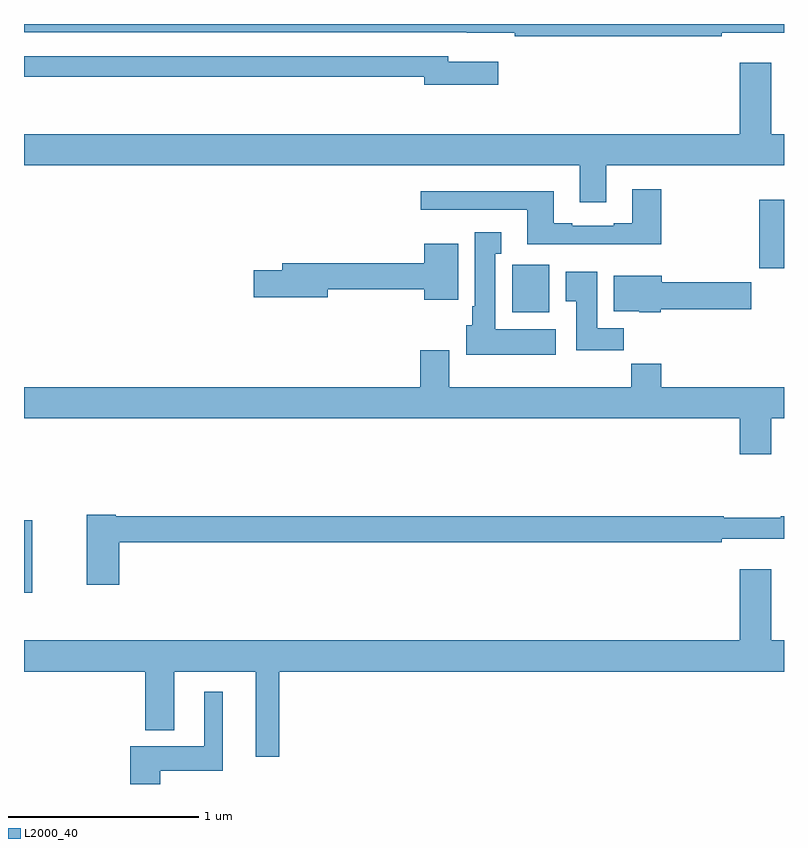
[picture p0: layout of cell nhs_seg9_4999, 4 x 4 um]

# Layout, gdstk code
import gdstk
lib = gdstk.Library(unit=1e-6, precision=1e-09)
def R(c, l, rs):  # rectangles x0, y0, x1, y1
    for r in rs: c.add(gdstk.rectangle(r[:2], r[2:], *l))
def P(c, l, *ps):  # polygons
    for p in ps: c.add(gdstk.Polygon(p, *l))
L2000_40 = (2000, 40)

nhs_seg9_4999 = lib.new_cell('nhs_seg9_4999')
R(nhs_seg9_4999, L2000_40, [(401,1191.507,401.044,1191.888), (403.569,1192.982,403.765,1193.232), (404.87,1193.214,405,1193.575)])
P(nhs_seg9_4999, L2000_40, [(404.672,1194.455),(405,1194.455),(405,1194.5),(401,1194.5),(401,1194.456),(403.33,1194.456),(403.33,1194.455),(403.582,1194.455),(403.582,1194.436),(404.672,1194.436)],
  [(403.495,1194.301),(403.234,1194.301),(403.234,1194.33),(401,1194.33),(401,1194.222),(403.106,1194.222),(403.106,1194.179),(403.495,1194.179)],
  [(404.065,1193.756),(405,1193.756),(405,1193.92),(404.932,1193.92),(404.932,1194.295),(404.768,1194.295),(404.768,1193.92),(401,1193.92),(401,1193.756),(403.925,1193.756),(403.925,1193.562),(404.065,1193.562)],
  [(404.354,1193.629),(404.201,1193.629),(404.201,1193.452),(404.105,1193.452),(404.105,1193.439),(403.885,1193.439),(403.885,1193.452),(403.789,1193.452),(403.789,1193.62),(403.089,1193.62),(403.089,1193.523),(403.649,1193.523),(403.649,1193.342),(404.354,1193.342)],
  [(403.798,1192.894),(403.48,1192.894),(403.48,1193.291),(403.513,1193.291),(403.513,1193.404),(403.373,1193.404),(403.373,1193.014),(403.358,1193.014),(403.358,1192.914),(403.328,1192.914),(403.328,1192.76),(403.798,1192.76)],
  [(403.285,1193.344),(403.106,1193.344),(403.106,1193.24),(402.359,1193.24),(402.359,1193.204),(402.21,1193.204),(402.21,1193.062),(402.598,1193.062),(402.598,1193.104),(403.106,1193.104),(403.106,1193.048),(403.285,1193.048)],
  [(404.156,1192.9),(404.017,1192.9),(404.017,1193.197),(403.85,1193.197),(403.85,1193.041),(403.907,1193.041),(403.907,1192.782),(404.156,1192.782)],
  [(404.352,1192.999),(404.827,1192.999),(404.827,1193.141),(404.356,1193.141),(404.356,1193.176),(404.105,1193.176),(404.105,1192.988),(404.238,1192.988),(404.238,1192.982),(404.352,1192.982)],
  [(404.932,1192.424),(405,1192.424),(405,1192.588),(404.354,1192.588),(404.354,1192.712),(404.197,1192.712),(404.197,1192.588),(403.237,1192.588),(403.237,1192.783),(403.085,1192.783),(403.085,1192.588),(401,1192.588),(401,1192.424),(404.768,1192.424),(404.768,1192.236),(404.932,1192.236)],
  [(401.501,1191.772),(404.672,1191.772),(404.672,1191.791),(405,1191.791),(405,1191.908),(404.984,1191.908),(404.984,1191.901),(404.684,1191.901),(404.684,1191.908),(401.484,1191.908),(401.484,1191.916),(401.33,1191.916),(401.33,1191.549),(401.501,1191.549)],
  [(402.343,1191.092),(405,1191.092),(405,1191.256),(404.932,1191.256),(404.932,1191.631),(404.768,1191.631),(404.768,1191.256),(401,1191.256),(401,1191.092),(401.639,1191.092),(401.639,1190.783),(401.791,1190.783),(401.791,1191.092),(402.221,1191.092),(402.221,1190.643),(402.343,1190.643)],
  [(401.716,1190.57),(402.046,1190.57),(402.046,1190.986),(401.948,1190.986),(401.948,1190.698),(401.558,1190.698),(401.558,1190.5),(401.716,1190.5)])

lib.write_gds('nhs_seg9_4999.gds')
